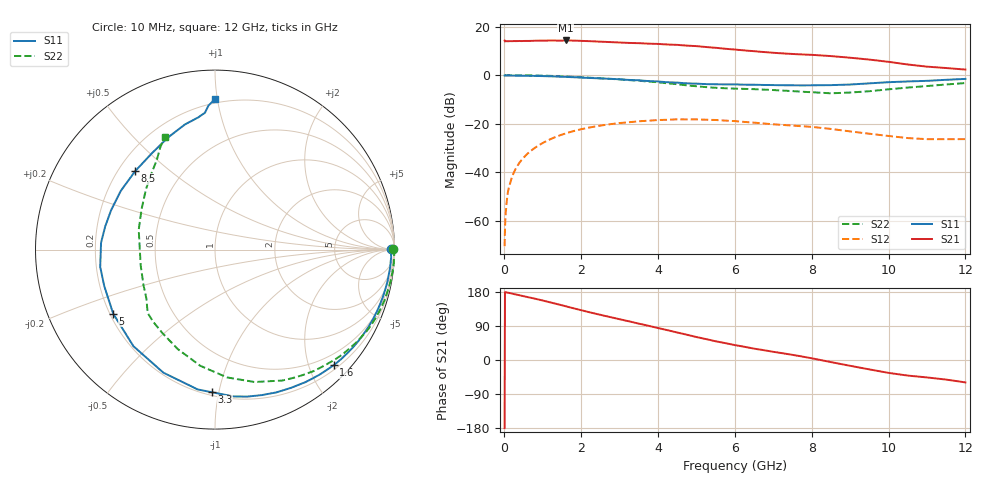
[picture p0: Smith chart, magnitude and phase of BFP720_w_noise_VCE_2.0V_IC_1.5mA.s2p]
! Infineon Technologies  Discrete & RF Semiconductors
! BFP720
! VCE =  2.0 V,  IC =  1.5 mA
! Common Emitter S-Parameters:  Aug 2012
# GHz  S  MA  R  50
!  f  S11  S21  S12  S22
! GHz  MAG  ANG  MAG  ANG  MAG  ANG  MAG  ANG
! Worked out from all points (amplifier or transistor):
!   105 points, 10 MHz to 12 GHz, reference 50 ohm
!   highest |S21| = 14.3 dB at 1.6 GHz (marker M1)
!   |S21| within 3 dB of that: start of sweep to 5.483 GHz
!   unconditionally stable (mu >= 1): start of sweep to 10.42 MHz; 8.035 GHz to 11.92 GHz
!   at 300 MHz: K = 0.00, MSG = 26.3 dB, |S12| = -38.5 dB
!   at 3.6 GHz: K = 0.27, MSG = 16.0 dB, |S12| = -18.9 dB
!   at 12 GHz: K = 0.95, MSG = 14.3 dB, |S12| = -26.3 dB
!   lowest NFmin = 0.43 dB at 450 MHz
!   S11 on the Smith chart (normalised r, x): 10 MHz: open; 1.6 GHz: 0.28, -2.44; 3.3 GHz: 0.22, -0.95; 5 GHz: 0.21, -0.28; 8.5 GHz: 0.27, +0.38; 12 GHz: 0.17, +0.98
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0.01  0.9808 0.3  5.157 -179.8  0.0003 12.4  0.9943 0.2
0.02  0.9827 -0.5  4.973 179.2  0.0007 86.7  0.9995 -0.4
0.03  0.9821 -0.8  4.989 178.9  0.0011 83.3  0.9991 -0.6
0.08  0.9817 -2.0  5.014 177.9  0.0032 86.1  0.9989 -1.7
0.2  0.9811 -5.1  5.025 175.3  0.0079 87.3  0.9985 -4.0
0.3  0.9787 -7.7  5.035 173.0  0.0119 84.8  0.9969 -6.1
0.6  0.972 -15.6  5.078 166.2  0.0239 78.9  0.9906 -12.3
1  0.9578 -26.6  5.155 157.0  0.04 70.7  0.9776 -20.9
1.6  0.9232 -44.2  5.193 141.8  0.0631 57.6  0.9396 -33.9
2.1  0.8852 -58.5  5.058 129.0  0.0799 46.3  0.8966 -44.6
2.6  0.8517 -72.1  4.869 116.9  0.0939 35.7  0.854 -54.8
3.3  0.795 -91.2  4.606 100.8  0.1083 21.6  0.7866 -69.0
4.1  0.7305 -116.1  4.355 82.1  0.1197 6.2  0.6998 -87.0
4.5  0.7044 -130.2  4.214 72.6  0.1232 -1.5  0.6521 -97.3
5  0.6701 -147.8  3.974 60.6  0.123 -11.2  0.5918 -110.5
5.5  0.6496 -161.7  3.668 49.4  0.1194 -20.1  0.55 -122.1
6.1  0.6424 -173.8  3.317 37.6  0.1115 -29.1  0.526 -131.9
7.4  0.6192 161.0  2.765 15.2  0.0927 -42.3  0.4745 -143.5
8.5  0.6237 135.4  2.474 -5.5  0.0781 -52.6  0.4234 -167.9
9.5  0.6781 112.5  2.096 -24.8  0.0622 -55.3  0.467 151.2
10.5  0.7426 97.2  1.661 -41.1  0.0506 -52.0  0.5562 129.2
12  0.8381 90.0  1.305 -59.1  0.0482 -41.3  0.6887 114.0
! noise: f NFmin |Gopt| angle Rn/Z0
0.45  0.43  0.72  5  0.33
1.8  0.58  0.67  30  0.28
2.4  0.68  0.58  79  0.2
5.5  0.99  0.47  92  0.09
10  1.51  0.5  -113  0.24
